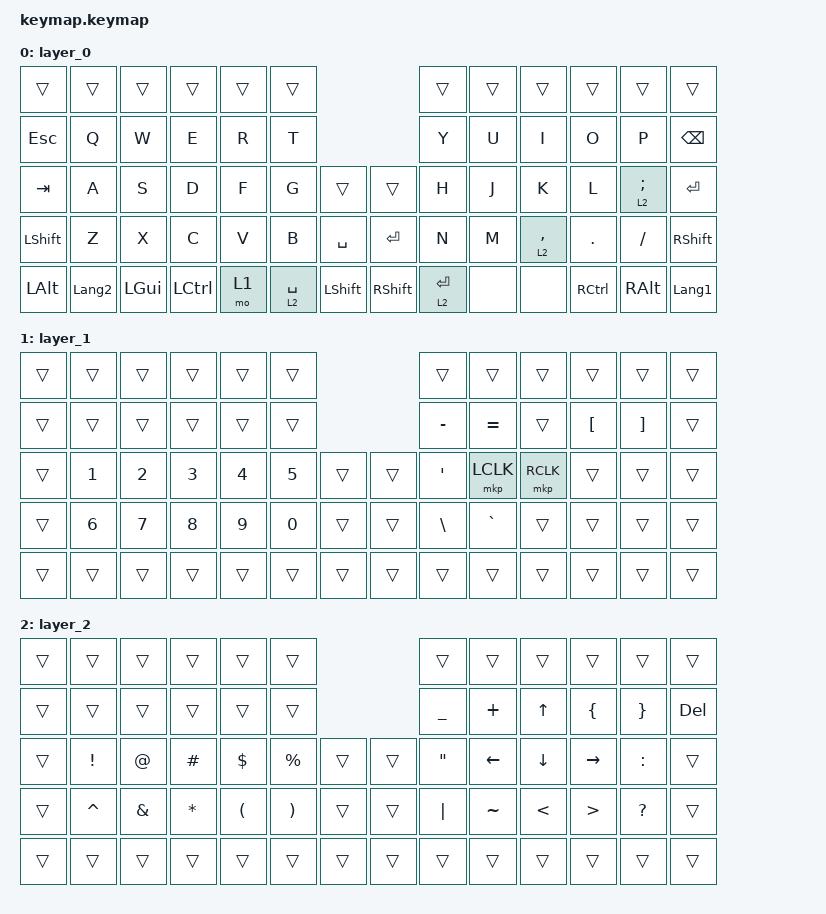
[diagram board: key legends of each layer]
#include <behaviors.dtsi>
#include <dt-bindings/zmk/bt.h>
#include <dt-bindings/zmk/keys.h>
#include <dt-bindings/zmk/pointing.h>

/ {
    combos {
        compatible = "zmk,combos";

        bt_clear {
            bindings = <&bt BT_CLR>;
            key-positions = <28 29>;
            layers = <2>;
        };
    };

    keymap {
        compatible = "zmk,keymap";

        layer_0 {
            bindings = <
&trans        &trans          &trans        &trans            &trans  &trans                               &trans       &trans  &trans       &trans             &trans           &trans
&kp ESC       &kp Q           &kp W         &kp E             &kp R   &kp T                                &kp Y        &kp U   &kp I        &kp O              &kp P            &kp BSPC
&kp TAB       &kp A           &kp S         &kp D             &kp F   &kp G        &trans      &trans      &kp H        &kp J   &kp K        &kp L              &lt 2 SEMICOLON  &kp RET
&kp LSHFT     &kp Z           &kp X         &kp C             &kp V   &kp B        &kp SPACE   &kp RET     &kp N        &kp M   &lt 2 COMMA  &kp DOT            &kp FSLH         &kp RSHFT
&kp LEFT_ALT  &kp LANGUAGE_2  &kp LEFT_GUI  &kp LEFT_CONTROL  &mo 1   &lt 2 SPACE  &kp LSHIFT  &kp RSHIFT  &lt 2 ENTER  &none   &none        &kp RIGHT_CONTROL  &kp RIGHT_ALT    &kp LANGUAGE_1
            >;
        };

        layer_1 {
            bindings = <
&trans  &trans        &trans        &trans        &trans        &trans                  &trans         &trans     &trans     &trans            &trans             &trans
&trans  &trans        &trans        &trans        &trans        &trans                  &kp MINUS      &kp EQUAL  &trans     &kp LEFT_BRACKET  &kp RIGHT_BRACKET  &trans
&trans  &kp NUMBER_1  &kp NUMBER_2  &kp NUMBER_3  &kp NUMBER_4  &kp N5  &trans  &trans  &kp SQT        &mkp LCLK  &mkp RCLK  &trans            &trans             &trans
&trans  &kp NUMBER_6  &kp N7        &kp N8        &kp N9        &kp N0  &trans  &trans  &kp BACKSLASH  &kp GRAVE  &trans     &trans            &trans             &trans
&trans  &trans        &trans        &trans        &trans        &trans  &trans  &trans  &trans         &trans     &trans     &trans            &trans             &trans
            >;
        };

        layer_2 {
            bindings = <
&trans  &trans     &trans         &trans        &trans                &trans                                 &trans             &trans     &trans         &trans            &trans           &trans
&trans  &trans     &trans         &trans        &trans                &trans                                 &kp UNDER          &kp PLUS   &kp UP_ARROW   &kp LEFT_BRACE    &kp RIGHT_BRACE  &kp DELETE
&trans  &kp EXCL   &kp AT         &kp HASH      &kp DOLLAR            &kp PERCENT            &trans  &trans  &kp DOUBLE_QUOTES  &kp LEFT   &kp DOWN       &kp RIGHT         &kp COLON        &trans
&trans  &kp CARET  &kp AMPERSAND  &kp ASTERISK  &kp LEFT_PARENTHESIS  &kp RIGHT_PARENTHESIS  &trans  &trans  &kp PIPE           &kp TILDE  &kp LESS_THAN  &kp GREATER_THAN  &kp QUESTION     &trans
&trans  &trans     &trans         &trans        &trans                &trans                 &trans  &trans  &trans             &trans     &trans         &trans            &trans           &trans
            >;
        };
    };
};
